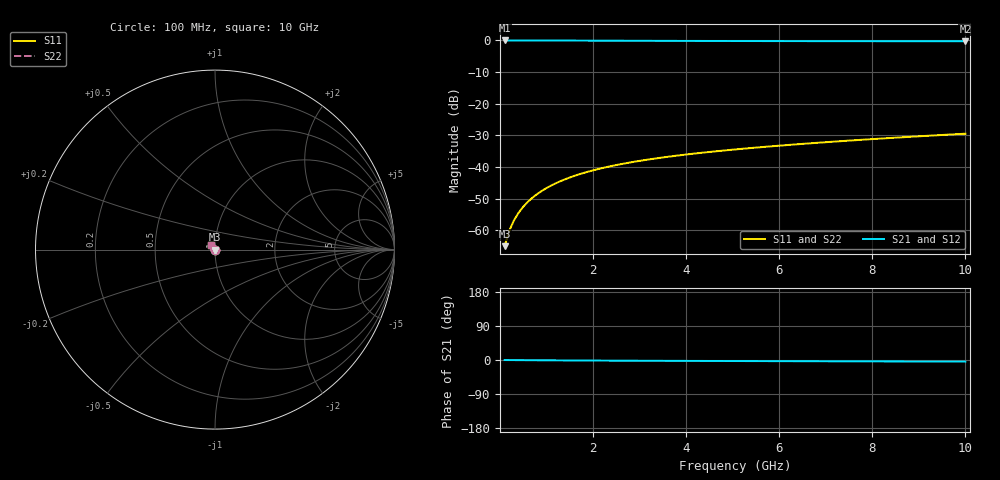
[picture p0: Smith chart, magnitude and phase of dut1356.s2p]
! Touchstone file exported from HFSS 2024.1.0
!  File:  C:/UserFiles/LocalFiles/RDL_TSV_Batchsim/temp_TSV1_1356_1780377854.aedt
!  Generated:  01:29:07 PM Jun  2, 2026
!  Design:  TSV1
!  Project:  temp_TSV1_1356_1780377854
!  Setup:  Setup1
!  Solution:  Sweep
! Variables:
!  dtsv = 6.09um
!  hbump = 3um
!  htsv = 58.77um
!  lrdl = 252.1521522um
!  p = 40
!  p1 = 56.2um
!  t = 500um
!  trdl = 3um
!  wrdl = 24.89489489um
# GHz S MA R 50.000000
! Terminal data exported
! Port[1] = TSV22_T1
! Port[2] = TSV22_T2
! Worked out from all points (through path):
!   100 points, 100 MHz to 10 GHz, reference 50 ohm
!   highest |S21| = 0.00 dB at 100 MHz (marker M1); lowest = -0.3 dB at 10 GHz (marker M2)
!   lowest |S11| = -65.0 dB at 100 MHz (marker M3), VSWR 1.00, Z = 50 - j0.0482 ohm
!   |S11| at or under -10 dB: start of sweep to end of sweep
!   |S22| runs from -65.0 to -29.5 dB; largest |S21 - S12| = 6.1e-15
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0.1  0.0005645 -58.6  0.9997 -0.1  0.9997 -0.1  0.0005645 -58.6
! Gamma 0 0 0 0
! Port Impedance 50 0 50 0
0.2  0.0009871 -76.9  0.9996 -0.2  0.9996 -0.2  0.0009871 -76.9
0.3  0.00144 -85.7  0.9995 -0.3  0.9995 -0.3  0.00144 -85.7
0.4  0.001901 -91.5  0.9993 -0.3  0.9993 -0.3  0.001901 -91.5
0.5  0.002366 -96.1  0.9991 -0.4  0.9991 -0.4  0.002366 -96.1
0.6  0.002832 -99.9  0.9988 -0.5  0.9988 -0.5  0.002832 -99.9
0.7  0.003296 -103.4  0.9985 -0.6  0.9985 -0.6  0.003296 -103.4
0.8  0.003757 -106.6  0.9982 -0.7  0.9982 -0.7  0.003757 -106.6
0.9  0.004215 -109.7  0.9979 -0.7  0.9979 -0.7  0.004215 -109.7
1.1  0.005116 -115.4  0.9971 -0.9  0.9971 -0.9  0.005116 -115.4
1.4  0.006428 -123.3  0.9957 -1.1  0.9957 -1.1  0.006428 -123.3
1.6  0.007273 -128.2  0.9947 -1.2  0.9947 -1.2  0.007273 -128.2
1.8  0.008093 -133.0  0.9937 -1.4  0.9937 -1.4  0.008093 -132.9
2.1  0.009279 -139.7  0.9921 -1.5  0.9921 -1.5  0.009279 -139.7
2.5  0.01078 -148.1  0.99 -1.8  0.99 -1.8  0.01078 -148.0
2.9  0.0122 -155.7  0.9879 -1.9  0.9879 -1.9  0.0122 -155.7
3.4  0.01388 -164.4  0.9855 -2.2  0.9855 -2.2  0.01388 -164.4
4.2  0.01642 -176.4  0.9823 -2.5  0.9823 -2.5  0.01642 -176.4
5.1  0.01914 172.3  0.9793 -2.8  0.9793 -2.8  0.01914 172.3
6.7  0.02385 156.9  0.9756 -3.3  0.9756 -3.3  0.02385 156.9
8.4  0.02887 145.0  0.9731 -3.8  0.9731 -3.8  0.02887 145.0
10  0.03369 136.6  0.9713 -4.3  0.9713 -4.3  0.03368 136.6
